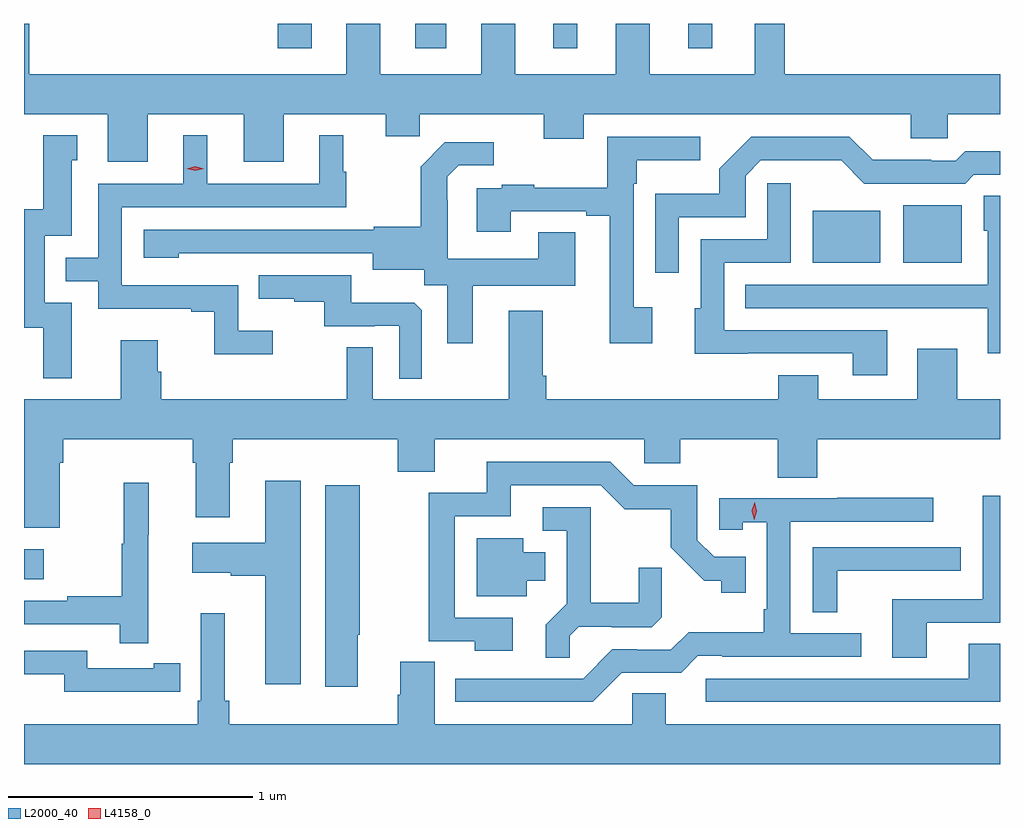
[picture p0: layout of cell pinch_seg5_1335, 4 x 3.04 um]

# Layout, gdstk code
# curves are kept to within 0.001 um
import gdstk
lib = gdstk.Library(unit=1e-6, precision=1e-09)
def R(c, l, rs):  # rectangles x0, y0, x1, y1
    for r in rs: c.add(gdstk.rectangle(r[:2], r[2:], *l))
def P(c, l, *ps):  # polygons
    for p in ps: c.add(gdstk.Polygon(p, *l))
L2000_40 = (2000, 40)
L4158_0 = (4158, 0)

pinch_seg5_1335 = lib.new_cell('pinch_seg5_1335')
R(pinch_seg5_1335, L2000_40, [(278.014,888.155,278.095,888.277), (281.246,889.451,281.524,889.666), (281.618,889.451,281.857,889.687), (279.053,890.331,279.193,890.432), (279.617,890.331,279.745,890.432), (280.184,890.331,280.282,890.432), (280.736,890.331,280.834,890.432)])
P(pinch_seg5_1335, L2000_40, [(278.521,890.06),(278.915,890.06),(278.915,889.866),(279.079,889.866),(279.079,890.06),(279.497,890.06),(279.497,889.97),(279.635,889.97),(279.635,890.06),(280.145,890.06),(280.145,889.961),(280.309,889.961),(280.309,890.06),(281.648,890.06),(281.648,889.962),(281.799,889.962),(281.799,890.06),(282.014,890.06),(282.014,890.224),(281.131,890.224),(281.131,890.432),(281.009,890.432),(281.009,890.224),(280.579,890.224),(280.579,890.432),(280.439,890.432),(280.439,890.224),(280.027,890.224),(280.027,890.432),(279.887,890.432),(279.887,890.224),(279.475,890.224),(279.475,890.432),(279.335,890.432),(279.335,890.224),(278.036,890.224),(278.036,890.432),(278.014,890.432),(278.014,890.06),(278.357,890.06),(278.357,889.866),(278.521,889.866)],
  [(279.034,889.174),(278.892,889.174),(278.892,889.359),(278.415,889.359),(278.415,889.68),(279.334,889.68),(279.334,889.824),(279.322,889.824),(279.322,889.975),(279.224,889.975),(279.224,889.776),(278.764,889.776),(278.764,889.975),(278.666,889.975),(278.666,889.776),(278.319,889.776),(278.319,889.473),(278.185,889.473),(278.185,889.377),(278.319,889.377),(278.319,889.263),(278.699,889.263),(278.699,889.251),(278.794,889.251),(278.794,889.076),(279.034,889.076)],
  [(278.209,889.287),(278.1,889.287),(278.1,889.563),(278.209,889.563),(278.209,889.872),(278.233,889.872),(278.233,889.975),(278.093,889.975),(278.093,889.671),(278.014,889.671),(278.014,889.186),(278.093,889.186),(278.093,888.978),(278.209,888.978)],
  [(280.588,889.27),(280.512,889.27),(280.512,889.775),(280.525,889.775),(280.525,889.871),(280.786,889.871),(280.786,889.968),(280.404,889.968),(280.404,889.76),(280.105,889.76),(280.105,889.771),(279.973,889.771),(279.973,889.758),(279.869,889.758),(279.869,889.578),(280.009,889.578),(280.009,889.662),(280.319,889.662),(280.319,889.644),(280.415,889.644),(280.415,889.122),(280.588,889.122)],
  [(280.698,889.638),(280.971,889.638),(280.971,889.809),(281.034,889.872),(281.363,889.871),(281.457,889.776),(281.871,889.776),(281.907,889.812),(282.014,889.812),(282.014,889.909),(281.872,889.909),(281.832,889.869),(281.732,889.869),(281.732,889.874),(281.492,889.874),(281.397,889.968),(280.994,889.968),(280.864,889.838),(280.864,889.735),(280.602,889.735),(280.602,889.41),(280.698,889.41)],
  [(279.853,889.358),(280.273,889.358),(280.273,889.577),(280.121,889.577),(280.121,889.468),(279.75,889.468),(279.75,889.709),(279.748,889.709),(279.748,889.804),(279.795,889.851),(279.94,889.851),(279.94,889.945),(279.739,889.945),(279.639,889.845),(279.639,889.6),(279.447,889.6),(279.447,889.587),(278.505,889.587),(278.505,889.472),(278.649,889.472),(278.649,889.49),(279.443,889.491),(279.443,889.424),(279.654,889.424),(279.654,889.36),(279.749,889.36),(279.749,889.122),(279.853,889.122)],
  [(281.551,889.176),(280.884,889.176),(280.884,889.452),(281.157,889.452),(281.157,889.777),(281.061,889.777),(281.061,889.548),(280.788,889.548),(280.788,889.266),(280.763,889.266),(280.763,889.079),(280.981,889.079),(280.981,889.08),(281.411,889.08),(281.411,888.99),(281.551,888.99)],
  [(282.014,889.727),(281.948,889.727),(281.948,889.584),(281.964,889.584),(281.964,889.362),(280.969,889.362),(280.969,889.266),(281.647,889.266),(281.647,889.265),(281.964,889.265),(281.964,889.08),(282.014,889.08)],
  [(279.645,889.257),(279.613,889.289),(279.355,889.289),(279.355,889.401),(278.977,889.401),(278.977,889.304),(279.121,889.304),(279.121,889.293),(279.245,889.293),(279.245,889.191),(279.452,889.191),(279.452,889.194),(279.552,889.194),(279.552,888.977),(279.645,888.977)],
  [(278.161,888.632),(278.174,888.632),(278.174,888.728),(278.705,888.728),(278.705,888.632),(278.717,888.632),(278.717,888.408),(278.857,888.408),(278.857,888.632),(278.87,888.632),(278.87,888.728),(279.545,888.728),(279.545,888.595),(279.697,888.595),(279.697,888.728),(280.557,888.728),(280.557,888.63),(280.704,888.63),(280.704,888.728),(281.104,888.728),(281.104,888.571),(281.264,888.571),(281.264,888.728),(282.014,888.728),(282.014,888.892),(281.839,888.892),(281.839,889.099),(281.675,889.099),(281.675,888.892),(281.269,888.892),(281.269,888.991),(281.105,888.991),(281.105,888.892),(280.154,888.892),(280.154,888.988),(280.141,888.988),(280.141,889.255),(280.001,889.255),(280.001,888.892),(279.444,888.892),(279.444,889.106),(279.336,889.106),(279.336,888.892),(278.576,888.892),(278.576,889.005),(278.563,889.005),(278.563,889.135),(278.411,889.135),(278.411,888.892),(278.014,888.892),(278.014,888.366),(278.161,888.366)],
  [(280.018,887.997),(279.78,887.997),(279.78,888.414),(280.009,888.414),(280.009,888.54),(280.377,888.54),(280.476,888.442),(280.665,888.442),(280.665,888.286),(280.802,888.149),(280.872,888.149),(280.872,888.099),(280.973,888.099),(280.973,888.246),(280.842,888.246),(280.773,888.315),(280.773,888.54),(280.512,888.54),(280.416,888.636),(279.911,888.636),(279.911,888.51),(279.672,888.51),(279.672,887.901),(279.862,887.901),(279.862,887.861),(280.018,887.861)],
  [(279.148,888.559),(279.002,888.559),(279.002,888.304),(278.703,888.304),(278.703,888.182),(278.861,888.182),(278.861,888.17),(279.002,888.17),(279.002,887.724),(279.148,887.724)],
  [(278.524,888.337),(278.525,888.337),(278.525,888.55),(278.422,888.55),(278.422,888.3),(278.415,888.3),(278.415,888.086),(278.191,888.086),(278.191,888.066),(278.014,888.066),(278.014,887.97),(278.407,887.97),(278.407,887.892),(278.524,887.892)],
  [(279.382,887.927),(279.39,887.927),(279.39,888.541),(279.248,888.541),(279.248,887.715),(279.382,887.715)],
  [(281.713,887.976),(282.014,887.976),(282.014,888.496),(281.943,888.496),(281.943,888.072),(281.573,888.072),(281.573,887.833),(281.713,887.833)],
  [(280.464,887.772),(280.707,887.772),(280.776,887.841),(280.876,887.841),(280.876,887.838),(281.446,887.838),(281.446,887.934),(281.154,887.934),(281.154,888.39),(281.74,888.39),(281.74,888.489),(281.347,888.489),(281.347,888.486),(280.863,888.486),(280.863,888.357),(280.959,888.357),(280.959,888.389),(281.058,888.389),(281.058,888.031),(281.046,888.031),(281.046,887.938),(280.738,887.938),(280.665,887.865),(280.526,887.865),(280.526,887.868),(280.425,887.868),(280.305,887.748),(279.782,887.748),(279.782,887.652),(280.344,887.652)],
  [(280.251,887.924),(280.288,887.961),(280.422,887.961),(280.422,887.958),(280.587,887.958),(280.628,887.999),(280.628,888.201),(280.534,888.201),(280.534,888.058),(280.337,888.058),(280.337,888.45),(280.14,888.45),(280.14,888.354),(280.239,888.354),(280.239,888.055),(280.153,887.969),(280.153,887.833),(280.251,887.833)],
  [(280.075,888.149),(280.15,888.149),(280.15,888.265),(280.06,888.265),(280.06,888.322),(279.869,888.322),(279.869,888.086),(280.075,888.086)],
  [(281.346,888.189),(281.741,888.189),(281.741,888.19),(281.854,888.19),(281.854,888.285),(281.247,888.285),(281.247,888.019),(281.346,888.019)],
  [(282.014,887.56),(280.645,887.56),(280.645,887.687),(280.506,887.687),(280.506,887.56),(279.697,887.56),(279.697,887.816),(279.557,887.816),(279.557,887.682),(279.545,887.682),(279.545,887.56),(278.855,887.56),(278.855,887.656),(278.836,887.656),(278.836,888.016),(278.739,888.016),(278.739,887.656),(278.726,887.656),(278.726,887.56),(278.014,887.56),(278.014,887.396),(282.014,887.396)],
  [(282.014,887.891),(281.885,887.891),(281.885,887.748),(280.809,887.748),(280.809,887.652),(282.014,887.652)],
  [(278.546,887.694),(278.654,887.694),(278.654,887.81),(278.546,887.81),(278.546,887.79),(278.274,887.79),(278.274,887.862),(278.014,887.862),(278.014,887.766),(278.178,887.766),(278.178,887.693),(278.546,887.693)])
P(pinch_seg5_1335, L4158_0, [(278.715,889.828),(278.68,889.838),(278.679,889.838),(278.68,889.838),(278.715,889.848),(278.75,889.838),(278.751,889.838),(278.75,889.838)],
  [(281.006,888.398),(281.006,888.399),(280.997,888.435),(281.008,888.47),(281.008,888.471),(281.008,888.47),(281.017,888.434),(281.007,888.399)])

lib.write_gds('pinch_seg5_1335.gds')
